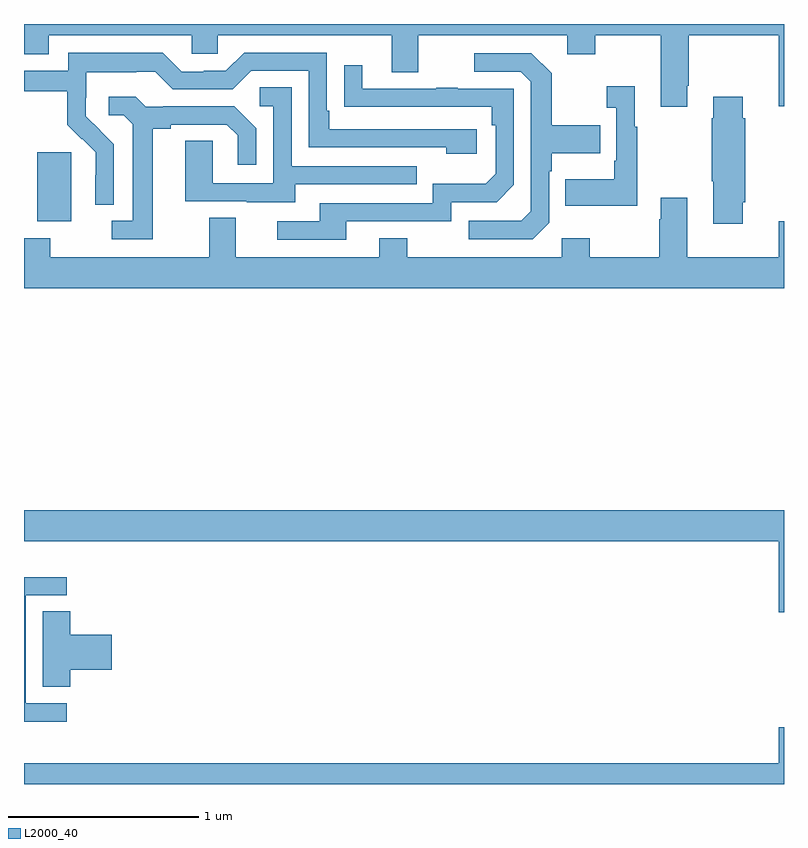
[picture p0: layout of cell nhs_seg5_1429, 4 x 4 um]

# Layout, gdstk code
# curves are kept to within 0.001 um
import gdstk
lib = gdstk.Library(unit=1e-6, precision=1e-09)
def R(c, l, rs):  # rectangles x0, y0, x1, y1
    for r in rs: c.add(gdstk.rectangle(r[:2], r[2:], *l))
def P(c, l, *ps):  # polygons
    for p in ps: c.add(gdstk.Polygon(p, *l))
L2000_40 = (2000, 40)

nhs_seg5_1429 = lib.new_cell('nhs_seg5_1429')
R(nhs_seg5_1429, L2000_40, [(197.069,875.762,197.248,876.123)])
P(nhs_seg5_1429, L2000_40, [(197,876.641),(197.131,876.641),(197.131,876.74),(197.883,876.74),(197.883,876.642),(198.021,876.642),(198.021,876.74),(198.935,876.74),(198.935,876.546),(199.075,876.546),(199.075,876.74),(199.859,876.74),(199.859,876.641),(200.007,876.641),(200.007,876.74),(200.351,876.74),(200.351,876.363),(200.491,876.363),(200.491,876.475),(200.499,876.475),(200.499,876.74),(200.972,876.74),(200.972,876.366),(201,876.366),(201,876.799),(197,876.799)],
  [(197.472,876.166),(197.326,876.314),(197.326,876.411),(197.328,876.411),(197.328,876.545),(197.591,876.545),(197.591,876.549),(197.691,876.549),(197.784,876.456),(198.099,876.456),(198.195,876.552),(198.498,876.552),(198.498,876.15),(199.223,876.15),(199.223,876.116),(199.384,876.116),(199.384,876.246),(198.607,876.246),(198.607,876.343),(198.594,876.343),(198.594,876.648),(198.159,876.648),(198.063,876.552),(197.945,876.552),(197.945,876.549),(197.829,876.549),(197.729,876.649),(197.232,876.649),(197.232,876.552),(197,876.552),(197,876.444),(197.227,876.444),(197.227,876.269),(197.304,876.192),(197.307,876.195),(197.378,876.125),(197.378,876.002),(197.376,876.002),(197.376,875.848),(197.472,875.848)],
  [(199.764,875.754),(199.764,876.023),(199.777,876.023),(199.777,876.119),(200.033,876.119),(200.033,876.267),(199.777,876.267),(199.777,876.539),(199.671,876.645),(199.371,876.645),(199.371,876.549),(199.614,876.549),(199.668,876.495),(199.668,875.814),(199.617,875.763),(199.341,875.763),(199.341,875.667),(199.677,875.667)],
  [(198.697,875.76),(199.248,875.76),(199.248,875.862),(199.488,875.862),(199.578,875.952),(199.578,876.459),(199.283,876.459),(199.283,876.464),(199.171,876.464),(199.171,876.459),(198.781,876.459),(198.781,876.583),(198.685,876.583),(198.685,876.364),(199.462,876.363),(199.462,876.266),(199.482,876.266),(199.482,876.012),(199.429,875.959),(199.152,875.959),(199.152,875.856),(198.557,875.856),(198.557,875.76),(198.333,875.76),(198.333,875.664),(198.697,875.664)],
  [(200.227,876.259),(200.215,876.259),(200.215,876.472),(200.067,876.472),(200.067,876.359),(200.118,876.359),(200.118,876.079),(200.106,876.079),(200.106,875.983),(199.849,875.983),(199.849,875.843),(200.227,875.843)],
  [(198.427,875.955),(199.067,875.955),(199.067,876.051),(198.408,876.051),(198.408,876.467),(198.24,876.467),(198.24,876.366),(198.312,876.366),(198.312,875.961),(197.994,875.961),(197.994,876.185),(197.849,876.185),(197.849,875.865),(198.173,875.865),(198.173,875.861),(198.427,875.861)],
  [(197.677,876.248),(197.773,876.248),(197.773,876.27),(198.068,876.27),(198.125,876.213),(198.125,876.057),(198.222,876.057),(198.222,876.25),(198.106,876.366),(197.734,876.366),(197.734,876.363),(197.64,876.363),(197.588,876.415),(197.445,876.415),(197.445,876.318),(197.526,876.318),(197.573,876.271),(197.573,875.763),(197.463,875.763),(197.463,875.667),(197.677,875.667)],
  [(200.782,875.86),(200.795,875.86),(200.795,876.302),(200.782,876.302),(200.782,876.415),(200.627,876.415),(200.627,876.302),(200.62,876.302),(200.62,875.971),(200.627,875.971),(200.627,875.748),(200.782,875.748)],
  [(201,875.761),(200.972,875.761),(200.972,875.572),(200.491,875.572),(200.491,875.884),(200.351,875.884),(200.351,875.771),(200.344,875.771),(200.344,875.572),(199.977,875.572),(199.977,875.671),(199.83,875.671),(199.83,875.572),(199.017,875.572),(199.017,875.671),(198.869,875.671),(198.869,875.572),(198.115,875.572),(198.115,875.78),(197.975,875.78),(197.975,875.572),(197.139,875.572),(197.139,875.671),(197,875.671),(197,875.408),(201,875.408)],
  [(201,874.24),(197,874.24),(197,874.076),(200.972,874.076),(200.972,873.702),(201,873.702)],
  [(197.224,873.225),(197.01,873.225),(197.01,873.792),(197.224,873.792),(197.224,873.888),(197,873.888),(197,873.127),(197.224,873.127)],
  [(197.243,873.401),(197.461,873.401),(197.461,873.584),(197.243,873.584),(197.243,873.707),(197.099,873.707),(197.099,873.31),(197.243,873.31)],
  [(201,873.097),(200.972,873.097),(200.972,872.908),(197,872.908),(197,872.799),(201,872.799)])

lib.write_gds('nhs_seg5_1429.gds')
